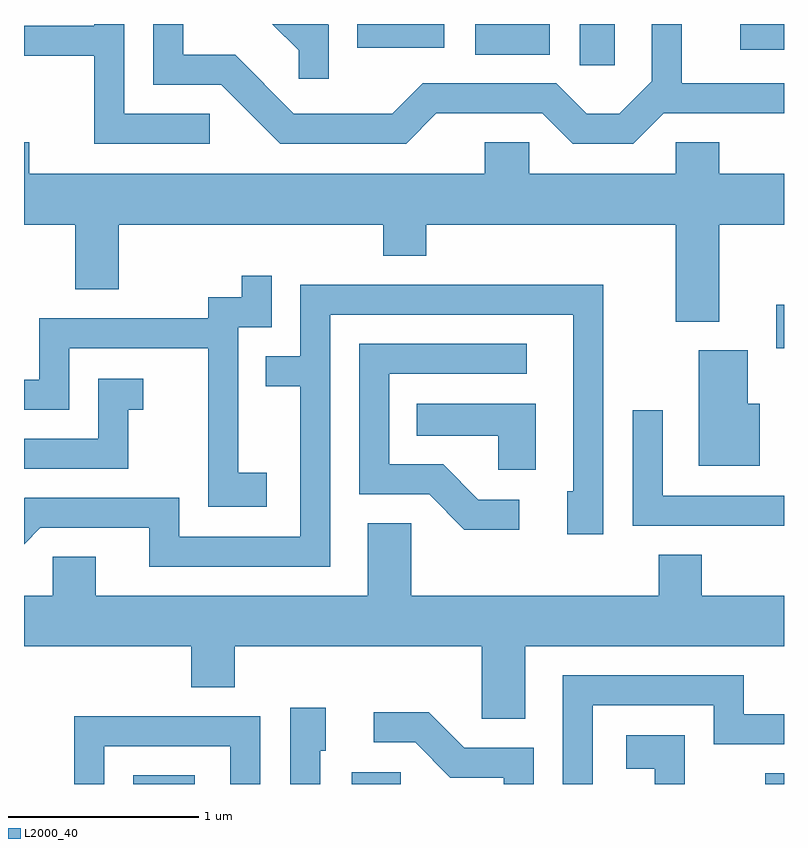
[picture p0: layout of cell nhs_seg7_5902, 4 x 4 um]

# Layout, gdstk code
import gdstk
lib = gdstk.Library(unit=1e-6, precision=1e-09)
def R(c, l, rs):  # rectangles x0, y0, x1, y1
    for r in rs: c.add(gdstk.rectangle(r[:2], r[2:], *l))
def P(c, l, *ps):  # polygons
    for p in ps: c.add(gdstk.Polygon(p, *l))
L2000_40 = (2000, 40)

nhs_seg7_5902 = lib.new_cell('nhs_seg7_5902')
R(nhs_seg7_5902, L2000_40, [(366.186,1720.252,366.509,1720.299), (367.336,1720.252,367.594,1720.314), (369.511,1720.252,369.611,1720.309), (369.571,1722.546,369.611,1722.774), (368.536,1724.036,368.719,1724.252), (367.986,1724.091,368.379,1724.252), (369.381,1724.116,369.611,1724.252), (367.366,1724.126,367.824,1724.252)])
P(nhs_seg7_5902, L2000_40, [(366.588,1723.779),(366.139,1723.779),(366.139,1724.252),(365.981,1724.252),(365.981,1724.244),(365.611,1724.244),(365.611,1724.086),(365.981,1724.086),(365.981,1723.621),(366.588,1723.621)],
  [(367.214,1724.247),(367.209,1724.252),(366.918,1724.252),(367.056,1724.114),(367.056,1723.963),(367.214,1723.963)],
  [(367.782,1723.781),(368.339,1723.781),(368.499,1723.621),(368.817,1723.621),(368.977,1723.781),(369.611,1723.781),(369.611,1723.939),(369.074,1723.939),(369.074,1724.252),(368.916,1724.252),(368.916,1723.952),(368.744,1723.779),(368.572,1723.779),(368.412,1723.939),(367.709,1723.939),(367.549,1723.779),(367.032,1723.779),(366.722,1724.089),(366.449,1724.089),(366.449,1724.252),(366.291,1724.252),(366.291,1723.931),(366.649,1723.931),(366.959,1723.621),(367.622,1723.621)],
  [(369.269,1723.196),(369.611,1723.196),(369.611,1723.464),(369.269,1723.464),(369.269,1723.629),(369.041,1723.629),(369.041,1723.464),(368.269,1723.464),(368.269,1723.629),(368.036,1723.629),(368.036,1723.464),(365.639,1723.464),(365.639,1723.629),(365.611,1723.629),(365.611,1723.196),(365.881,1723.196),(365.881,1722.856),(366.109,1722.856),(366.109,1723.196),(367.501,1723.196),(367.501,1723.031),(367.729,1723.031),(367.729,1723.196),(369.041,1723.196),(369.041,1722.686),(369.269,1722.686)],
  [(366.889,1721.889),(366.739,1721.889),(366.739,1722.656),(366.914,1722.656),(366.914,1722.928),(366.756,1722.928),(366.756,1722.814),(366.581,1722.814),(366.581,1722.704),(365.691,1722.704),(365.691,1722.379),(365.611,1722.379),(365.611,1722.221),(365.849,1722.221),(365.849,1722.546),(366.581,1722.546),(366.581,1721.711),(366.889,1721.711)],
  [(367.224,1722.721),(368.501,1722.721),(368.501,1721.794),(368.471,1721.794),(368.471,1721.566),(368.659,1721.566),(368.659,1722.879),(367.066,1722.879),(367.066,1722.504),(366.883,1722.504),(366.883,1722.346),(367.066,1722.346),(367.066,1721.554),(366.429,1721.554),(366.429,1721.759),(365.614,1721.759),(365.611,1721.756),(365.611,1721.515),(365.697,1721.601),(366.271,1721.601),(366.271,1721.396),(367.224,1721.396)],
  [(368.218,1721.749),(368.002,1721.749),(367.817,1721.934),(367.534,1721.934),(367.534,1722.411),(368.258,1722.411),(368.258,1722.569),(367.376,1722.569),(367.376,1721.776),(367.744,1721.776),(367.929,1721.591),(368.218,1721.591)],
  [(369.484,1722.254),(369.419,1722.254),(369.419,1722.534),(369.161,1722.534),(369.161,1721.926),(369.484,1721.926)],
  [(366.159,1722.221),(366.238,1722.221),(366.238,1722.384),(366.001,1722.384),(366.001,1722.069),(365.611,1722.069),(365.611,1721.911),(366.159,1721.911)],
  [(368.304,1722.254),(367.678,1722.254),(367.678,1722.086),(368.106,1722.086),(368.106,1721.906),(368.304,1721.906)],
  [(369.611,1721.769),(368.974,1721.769),(368.974,1722.218),(368.816,1722.218),(368.816,1721.611),(369.611,1721.611)],
  [(368.249,1720.976),(369.611,1720.976),(369.611,1721.244),(369.179,1721.244),(369.179,1721.459),(368.951,1721.459),(368.951,1721.244),(367.649,1721.244),(367.649,1721.624),(367.421,1721.624),(367.421,1721.244),(365.989,1721.244),(365.989,1721.449),(365.761,1721.449),(365.761,1721.244),(365.611,1721.244),(365.611,1720.976),(366.491,1720.976),(366.491,1720.761),(366.719,1720.761),(366.719,1720.976),(368.021,1720.976),(368.021,1720.596),(368.249,1720.596)],
  [(368.604,1720.666),(369.241,1720.666),(369.241,1720.461),(369.611,1720.461),(369.611,1720.619),(369.399,1720.619),(369.399,1720.824),(368.446,1720.824),(368.446,1720.252),(368.604,1720.252)],
  [(367.169,1720.426),(367.199,1720.426),(367.199,1720.654),(367.011,1720.654),(367.011,1720.252),(367.169,1720.252)],
  [(368.294,1720.444),(367.927,1720.444),(367.742,1720.629),(367.453,1720.629),(367.453,1720.471),(367.669,1720.471),(367.854,1720.286),(368.136,1720.286),(368.136,1720.252),(368.294,1720.252)],
  [(366.034,1720.451),(366.696,1720.451),(366.696,1720.252),(366.854,1720.252),(366.854,1720.609),(365.876,1720.609),(365.876,1720.252),(366.034,1720.252)],
  [(369.089,1720.509),(368.781,1720.509),(368.781,1720.331),(368.931,1720.331),(368.931,1720.252),(369.089,1720.252)])

lib.write_gds('nhs_seg7_5902.gds')
